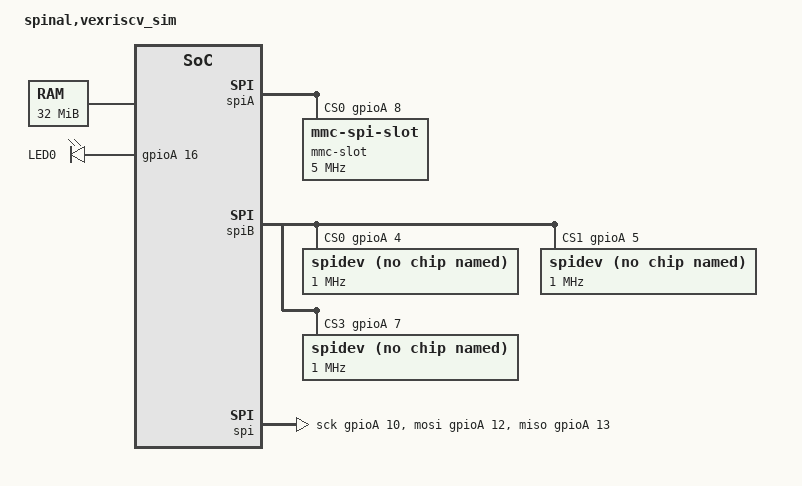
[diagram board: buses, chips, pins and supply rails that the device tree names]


/dts-v1/;
//include/ "dt-bindings/interrupt-controller/irq.h"
//include/ "dt-bindings/gpio/gpio.h"



/ {
    #address-cells = <0x1>;
    #size-cells = <0x1>;
    compatible = "spinal,vexriscv";
    model = "spinal,vexriscv_sim";

/*
    chosen {
        bootargs = "rootwait console=hvc0 root=/dev/ram0 init=/sbin/init swiotlb=0"; // loglevel=7
        linux,initrd-start = <0x90600000>;
        linux,initrd-end =   <0x90F00000>; 
    };
*/

    chosen {
        bootargs = "rootwait console=hvc0 root=/dev/mmcblk0p1 init=/sbin/init swiotlb=0"; // loglevel=7
    };

    cpus {
        #address-cells = <0x1>;
        #size-cells = <0x0>;
        timebase-frequency = <100000000>;
            cpu@0 {
                device_type = "cpu";
                compatible = "riscv";
                riscv,isa = "rv32im";
                mmu-type = "riscv,sv32";
                reg = <0>;
                status = "okay";
                L1: interrupt-controller {
                    #interrupt-cells = <0x00000001>;
                    interrupt-controller;
                    compatible = "riscv,cpu-intc";
                };
            };
        };

    memory@90000000 {
        device_type = "memory";
        reg = <0x90000000 0x02000000>;
    };
    
    apbA@10000000 {
        compatible = "simple-bus";
        #address-cells = <0x1>;
        #size-cells = <0x1>;
        ranges = <0x0 0x10000000 0x01000000>;

        plic: interrupt-controller@c00000 {
            compatible = "sifive,plic-1.0.0", "sifive,fu540-c000-plic";
            #interrupt-cells = <1>;
            interrupt-controller;
            interrupts-extended = <&L1 11 &L1 9>;
            reg = <0x00C00000 0x400000>;
            riscv,ndev = <32>;
        };

        gpioA: gpio@0 {
	        compatible = "spinal-lib,gpio-1.0";
	        interrupt-parent = <&plic>;
	        ngpio = <24>;
	        interrupts = <4 5 6 7>;
	        reg = <0x000000 0x1000>;
	        gpio-controller;
	        #gpio-cells = <2>;
	        interrupt-controller;
	        #interrupt-cells = <2>;
        };


        spiA: spi@20000 {
            compatible = "spinal-lib,spi-1.0";
            #address-cells = <1>;
            #size-cells = <0>;   
            reg = <0x020000 0x1000>;
            cmd_fifo_depth = <256>;
            rsp_fifo_depth = <256>;
            cs-gpios = <&gpioA 8 0>;

                   

            mmc-slot@0 {
                compatible = "mmc-spi-slot";
                reg = <0>;
                voltage-ranges = <3300 3300>;
                spi-max-frequency = <5000000>;
            };
        };

        spiB: spi@21000 {
            compatible = "spinal-lib,spi-1.0";
            #address-cells = <1>;
            #size-cells = <0>;   
            reg = <0x021000 0x1000>;
            cmd_fifo_depth = <256>;
            rsp_fifo_depth = <256>;
            cs-gpios = <&gpioA 4 0>, <&gpioA 5 0>, <&gpioA 6 0>, <&gpioA 7 0>;

                   
/*
            enc28j60: ethernet@0 {
                compatible = "microchip,enc28j60";
                reg = <0>;
                interrupt-parent = <&gpioA>;
                interrupts = <0 2>; //IRQ_TYPE_EDGE_FALLING
                spi-max-frequency = <2000000>;
            };   

            w5500: ethernet@1 {
                compatible = "wiznet,w5500";
                reg = <1>; 
                interrupt-parent = <&gpioA>; 
                interrupts = <1 2>; 
                spi-max-frequency = <2000000>;
            }; 

			wilc_spi@2 {
				compatible = "microchip,wilc1000";
				spi-max-frequency = <10000000>;
				reg = <2>;
				irq-gpios = <&gpioA 2 0>;
				reset-gpios = <&gpioA 14 0>;
				chip_en-gpios = <&gpioA 15 0>;
				status = "okay";
			};

			wilc_spi@2 {
				compatible = "microchip,wilc1000-spi";
				spi-max-frequency = <4000000>;
				reg = <2>;
				irq-gpios = <&gpioA 2 0>;
				status = "okay";
			};
*/

            spidev@0 {
                compatible = "rohm,dh2228fv"; //spidev
                spi-max-frequency = <1000000>;
                reg = <0>;
            }; 

            spidev@1 {
                compatible = "rohm,dh2228fv"; //spidev
                spi-max-frequency = <1000000>;
                reg = <1>;
            };     
/*
            spidev@2 {
                compatible = "rohm,dh2228fv"; //spidev
                spi-max-frequency = <1000000>;
                reg = <2>;
            };    
 */
            spidev@3 {
                compatible = "rohm,dh2228fv"; //spidev
                spi-max-frequency = <1000000>;
                reg = <3>;
            };    
        };

		spi {
			compatible = "spi-gpio";
			#address-cells = <0x1>;
			ranges;

			sck-gpios = <&gpioA 10 0>;
			miso-gpios = <&gpioA 13 0>;
			mosi-gpios = <&gpioA 12 0>;
			cs-gpios = <&gpioA 11 0>;
			num-chipselects = <1>;
/*
			wilc_spi@0 {
				compatible = "microchip,wilc1000";
				spi-max-frequency = <4000000>;
				reg = <0>;
				irq-gpios = <&gpioA 2 0>;
				reset-gpios = <&gpioA 14 0>;
				chip_en-gpios = <&gpioA 15 0>;
				status = "okay";
			};*/
			/*wilc_spi@0 {
				compatible = "microchip,wilc1000";
				spi-max-frequency = <4000000>;
				reg = <0>;
				irq-gpios = <&gpioA 2 0>;
				status = "okay";
			};*/
		};
    };

	leds: leds {
		compatible = "gpio-leds";
		led0 {
			label = "LED0";
			gpios = <&gpioA 16 0>;
			linux,default-trigger = "mmc0";
		};
	};
};


